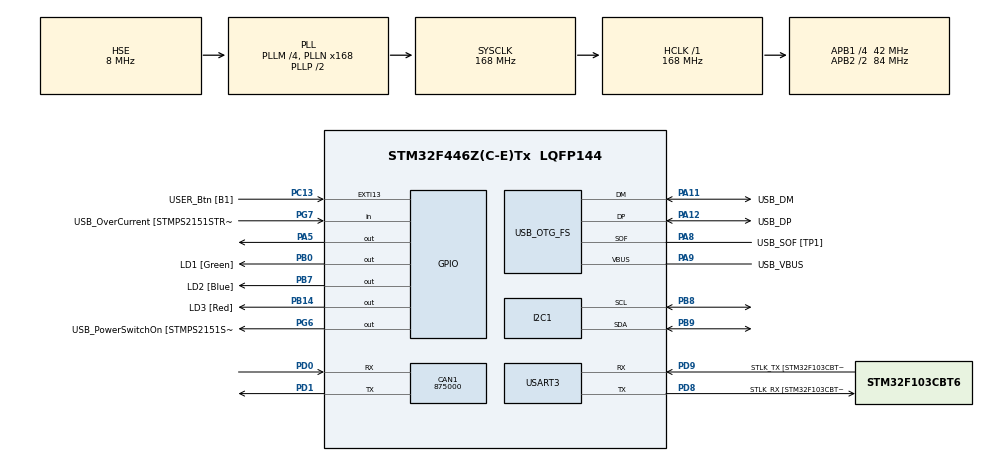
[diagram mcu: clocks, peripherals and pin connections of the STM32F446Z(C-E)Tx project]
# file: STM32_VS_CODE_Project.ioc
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CAN1.CalculateBaudRate=875000
CAN1.CalculateTimeBit=1142
CAN1.CalculateTimeQuantum=380.95238095238096
Mcu.Family=STM32F4
Mcu.Name=STM32F446Z(C-E)Tx
Mcu.Package=LQFP144
NVIC.PriorityGroup=NVIC_PRIORITYGROUP_4
PA10.GPIO_Label=USB_ID
PA10.Signal=USB_OTG_FS_ID
PA11.GPIO_Label=USB_DM
PA11.Mode=Device_Only
PA11.Signal=USB_OTG_FS_DM
PA12.GPIO_Label=USB_DP
PA12.Mode=Device_Only
PA12.Signal=USB_OTG_FS_DP
PA13.GPIO_Label=TMS
PA13.Mode=Serial_Wire
PA13.Signal=SYS_JTMS-SWDIO
PA14.GPIO_Label=TCK
PA14.Mode=Serial_Wire
PA14.Signal=SYS_JTCK-SWCLK
PA5.Signal=GPIO_Output
PA8.GPIO_Label=USB_SOF [TP1]
PA8.Mode=Activate_SOF_FS
PA8.Signal=USB_OTG_FS_SOF
PA9.GPIO_Label=USB_VBUS
PA9.Mode=Activate_VBUS
PA9.Signal=USB_OTG_FS_VBUS
PB0.GPIO_Label=LD1 [Green]
PB0.Signal=GPIO_Output
PB14.GPIO_Label=LD3 [Red]
PB14.Signal=GPIO_Output
PB7.GPIO_Label=LD2 [Blue]
PB7.Signal=GPIO_Output
PB8.Mode=I2C
PB8.Signal=I2C1_SCL
PB9.Mode=I2C
PB9.Signal=I2C1_SDA
PC13.GPIO_Label=USER_Btn [B1]
PC13.Signal=GPXTI13
PC14-OSC32_IN.Mode=LSE-External-Oscillator
PC14-OSC32_IN.Signal=RCC_OSC32_IN
PC15-OSC32_OUT.Mode=LSE-External-Oscillator
PC15-OSC32_OUT.Signal=RCC_OSC32_OUT
PD0.Mode=CAN_Activate
PD0.Signal=CAN1_RX
PD1.Mode=CAN_Activate
PD1.Signal=CAN1_TX
PD8.GPIO_Label=STLK_RX [STM32F103CBT6_PA3]
PD8.Mode=Asynchronous
PD8.Signal=USART3_TX
PD9.GPIO_Label=STLK_TX [STM32F103CBT6_PA2]
PD9.Mode=Asynchronous
PD9.Signal=USART3_RX
PG6.GPIO_Label=USB_PowerSwitchOn [STMPS2151STR_EN]
PG6.Signal=GPIO_Output
PG7.GPIO_Label=USB_OverCurrent [STMPS2151STR_FAULT]
PG7.Signal=GPIO_Input
PH0-OSC_IN.GPIO_Label=MCO [STM32F103CBT6_PA8]
PH0-OSC_IN.Mode=HSE-External-Clock-Source
PH0-OSC_IN.Signal=RCC_OSC_IN
PH1-OSC_OUT.Mode=HSE-External-Clock-Source
PH1-OSC_OUT.Signal=RCC_OSC_OUT
ProjectManager.HeapSize=0x200
ProjectManager.StackSize=0x400
ProjectManager.TargetToolchain=CMake
RCC.48MHZClocksFreq_Value=24000000
RCC.AHBFreq_Value=168000000
RCC.APB1CLKDivider=RCC_HCLK_DIV4
RCC.APB1Freq_Value=42000000
RCC.APB1TimFreq_Value=84000000
RCC.APB2CLKDivider=RCC_HCLK_DIV2
RCC.APB2Freq_Value=84000000
RCC.APB2TimFreq_Value=168000000
RCC.CortexFreq_Value=168000000
RCC.HCLKFreq_Value=168000000
RCC.HSE_VALUE=8000000
RCC.HSI_VALUE=16000000
RCC.PLLM=4
RCC.PLLMUL=RCC_PLL_MUL9
RCC.PLLN=168
RCC.PLLQ=7
RCC.PRESCALERUSB=RCC_USBCLKSOURCE_PLL_DIV1_5
RCC.SYSCLKFreq_VALUE=168000000
RCC.SYSCLKSource=RCC_SYSCLKSOURCE_PLLCLK
RCC.SYSCLKSourceVirtual=RCC_SYSCLKSOURCE_PLLCLK
RCC.USBFreq_Value=48000000
RCC.VCOOutputFreq_Value=336000000
USART3.VirtualMode=VM_ASYNC
USB_OTG_FS.VirtualMode=Device_Only
board=NUCLEO-F446ZE

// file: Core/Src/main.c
/* USER CODE BEGIN Header */
/**
  ******************************************************************************
  * @file           : main.c
  * @brief          : Main program body
  ******************************************************************************
  * @attention
  *
  * Copyright (c) 2026 STMicroelectronics.
  * All rights reserved.
  *
  * This software is licensed under terms that can be found in the LICENSE file
  * in the root directory of this software component.
  * If no LICENSE file comes with this software, it is provided AS-IS.
  *
  ******************************************************************************
  */
/* USER CODE END Header */
#include "main.h"

/* USER CODE BEGIN Includes */
#include <string.h>
#include <stdio.h>
/* USER CODE END Includes */

CAN_HandleTypeDef hcan1;

I2C_HandleTypeDef hi2c1;

UART_HandleTypeDef huart3;

PCD_HandleTypeDef hpcd_USB_OTG_FS;

/* USER CODE BEGIN PV */
// Địa chỉ I2C của Adafruit BMP280 mặc định là 0x77 (shift 1 bit = 0xEE)
// Nếu chân SDO nối GND thì là 0x76 (shift 1 bit = 0xEC)
#define BMP280_ADDR_PRIMARY   (0x77 << 1) // 0xEE
#define BMP280_ADDR_SECONDARY (0x76 << 1) // 0xEC

uint8_t bmp280_i2c_addr = BMP280_ADDR_PRIMARY;

#define BMP280_REG_ID      0xD0
#define BMP280_REG_RESET   0xE0
#define BMP280_REG_CTRL    0xF4
#define BMP280_REG_CONFIG  0xF5
#define BMP280_REG_CALIB   0x88
#define BMP280_REG_DATA    0xF7

// Các hệ số hiệu chuẩn của BMP280 (theo Bosch Datasheet)
uint16_t dig_T1;
int16_t  dig_T2;
int16_t  dig_T3;
int32_t  t_fine;

char msg[128];

// Các biến cấu hình truyền CAN
CAN_TxHeaderTypeDef TxHeader;
uint8_t             TxData[8];
uint32_t            TxMailbox;
/* USER CODE END PV */

void SystemClock_Config(void);
static void MX_GPIO_Init(void);
static void MX_USART3_UART_Init(void);
static void MX_USB_OTG_FS_PCD_Init(void);
static void MX_I2C1_Init(void);
static void MX_CAN1_Init(void);

/* USER CODE BEGIN 0 */
uint8_t BMP280_Init(void)
{
  uint8_t chip_id = 0;

  // Quét thử trước 0x77 và 0x76
  if (HAL_I2C_Mem_Read(&hi2c1, BMP280_ADDR_PRIMARY, BMP280_REG_ID, 1, &chip_id, 1, 200) == HAL_OK && chip_id == 0x58)
  {
    bmp280_i2c_addr = BMP280_ADDR_PRIMARY;
  }
  else if (HAL_I2C_Mem_Read(&hi2c1, BMP280_ADDR_SECONDARY, BMP280_REG_ID, 1, &chip_id, 1, 200) == HAL_OK && chip_id == 0x58)
  {
    bmp280_i2c_addr = BMP280_ADDR_SECONDARY;
  }
  else
  {
    // Quét toàn bộ bus I2C để chẩn đoán chính xác xem có thiết bị nào trên bus không
    sprintf(msg, "-> Dang quet toan bo bus I2C1 (PB8/PB9)...\r\n");
    HAL_UART_Transmit(&huart3, (uint8_t*)msg, strlen(msg), HAL_MAX_DELAY);
    uint8_t found = 0;
    for (uint16_t addr = 1; addr < 128; addr++)
    {
      if (HAL_I2C_IsDeviceReady(&hi2c1, (addr << 1), 1, 10) == HAL_OK)
      {
        uint8_t id_test = 0;
        HAL_I2C_Mem_Read(&hi2c1, (addr << 1), BMP280_REG_ID, 1, &id_test, 1, 50);
        sprintf(msg, "   [I2C FOUND] Phat hien thiet bi o dia chi: 0x%02X (Chip ID doc duoc: 0x%02X)\r\n", addr, id_test);
        HAL_UART_Transmit(&huart3, (uint8_t*)msg, strlen(msg), HAL_MAX_DELAY);
        if (id_test == 0x58)
        {
          bmp280_i2c_addr = (addr << 1);
          chip_id = id_test;
          found = 1;
          break;
        }
      }
    }
    if (!found) return 0;
  }

  // Đọc 6 byte hệ số hiệu chuẩn nhiệt độ (dig_T1..T3) từ thanh ghi 0x88
  uint8_t calib[6];
  if (HAL_I2C_Mem_Read(&hi2c1, bmp280_i2c_addr, BMP280_REG_CALIB, 1, calib, 6, 1000) != HAL_OK)
  {
    return 0;
  }

  dig_T1 = (uint16_t)((calib[1] << 8) | calib[0]);
  dig_T2 = (int16_t)((calib[3] << 8) | calib[2]);
  dig_T3 = (int16_t)((calib[5] << 8) | calib[4]);

  // Cấu hình chế độ đo: Oversampling x1, Normal mode -> 0x27
  uint8_t ctrl_meas = 0x27;
  HAL_I2C_Mem_Write(&hi2c1, bmp280_i2c_addr, BMP280_REG_CTRL, 1, &ctrl_meas, 1, 1000);

  // Cấu hình lọc: Standby 500ms, filter x16 -> 0x90
  uint8_t config = (4 << 5) | (4 << 2);
  HAL_I2C_Mem_Write(&hi2c1, bmp280_i2c_addr, BMP280_REG_CONFIG, 1, &config, 1, 1000);

  return 1;
}

float BMP280_ReadTemperature(void)
{
  uint8_t data[3];
  // Đọc 3 byte nhiệt độ thô từ thanh ghi 0xFA
  if (HAL_I2C_Mem_Read(&hi2c1, bmp280_i2c_addr, 0xFA, 1, data, 3, 1000) != HAL_OK)
  {
    return -999.0f;
  }

  int32_t adc_T = ((int32_t)data[0] << 12) | ((int32_t)data[1] << 4) | ((int32_t)data[2] >> 4);

  // Công thức bù chuẩn theo datasheet Bosch Sensortec BMP280
  int32_t var1 = ((((adc_T >> 3) - ((int32_t)dig_T1 << 1))) * ((int32_t)dig_T2)) >> 11;
  int32_t var2 = (((((adc_T >> 4) - ((int32_t)dig_T1)) * ((adc_T >> 4) - ((int32_t)dig_T1))) >> 12) * ((int32_t)dig_T3)) >> 14;

  t_fine = var1 + var2;
  int32_t T = (t_fine * 5 + 128) >> 8;

  return (float)T / 100.0f;
}
/* USER CODE END 0 */

int main(void)
{

  /* USER CODE BEGIN 1 */
  HAL_StatusTypeDef ret;
  uint8_t buf[12];
  int16_t val;
  float tempC;
  /* USER CODE END 1 */

  /* MCU Configuration--------------------------------------------------------*/

  /* Reset of all peripherals, Initializes the Flash interface and the Systick. */
  HAL_Init();

  /* Configure the system clock */
  SystemClock_Config();

  /* Initialize all configured peripherals */
  MX_GPIO_Init();
  MX_USART3_UART_Init();
  MX_USB_OTG_FS_PCD_Init();
  MX_I2C1_Init();
  MX_CAN1_Init();
  /* USER CODE BEGIN 2 */
  sprintf(msg, "\r\n========================================\r\n");
  HAL_UART_Transmit(&huart3, (uint8_t*)msg, strlen(msg), HAL_MAX_DELAY);
  sprintf(msg, "   STM32F446ZE - Adafruit BMP280 Demo\r\n");
  HAL_UART_Transmit(&huart3, (uint8_t*)msg, strlen(msg), HAL_MAX_DELAY);
  sprintf(msg, "========================================\r\n");
  HAL_UART_Transmit(&huart3, (uint8_t*)msg, strlen(msg), HAL_MAX_DELAY);

  if (BMP280_Init())
  {
    sprintf(msg, "[OK] Tim thay BMP280 o dia chi: 0x%02X!\r\n", (bmp280_i2c_addr >> 1));
    HAL_UART_Transmit(&huart3, (uint8_t*)msg, strlen(msg), HAL_MAX_DELAY);
  }
  else
  {
    sprintf(msg, "[ERROR] Khong tim thay BMP280!\r\nVui long kiem tra lai day noi I2C (PB8-SCL, PB9-SDA) va nguon.\r\n");
    HAL_UART_Transmit(&huart3, (uint8_t*)msg, strlen(msg), HAL_MAX_DELAY);
  }

  // 1. Cấu hình gói tin CAN (TxHeader)
  TxHeader.StdId = 0x103;              // ID gói tin CAN (ESP32 sẽ bắt đúng ID 0x103 này)
  TxHeader.ExtId = 0x01;
  TxHeader.RTR   = CAN_RTR_DATA;       // Gói tin chứa dữ liệu (Data Frame)
  TxHeader.IDE   = CAN_ID_STD;         // Chuẩn ID tiêu chuẩn 11-bit
  TxHeader.DLC   = 4;                  // Độ dài 4 byte (chứa 1 biến float 32-bit)
  TxHeader.TransmitGlobalTime = DISABLE;

  // 2. Bật khối CAN1 hoạt động
  if (HAL_CAN_Start(&hcan1) == HAL_OK)
  {
    sprintf(msg, "[OK] CAN1 khoi dong thanh cong (Baud: 500 kbps, StdID: 0x103)!\r\n");
    HAL_UART_Transmit(&huart3, (uint8_t*)msg, strlen(msg), HAL_MAX_DELAY);
  }
  else
  {
    sprintf(msg, "[ERROR] Khong the start CAN1!\r\n");
    HAL_UART_Transmit(&huart3, (uint8_t*)msg, strlen(msg), HAL_MAX_DELAY);
  }
  /* USER CODE END 2 */

  /* Infinite loop */
  /* USER CODE BEGIN WHILE */
  while (1)
  {
    tempC = BMP280_ReadTemperature();

    if (tempC < -900.0f)
    {
      sprintf(msg, "[LOI] Khong doc duoc du lieu tu cam bien!\r\n");
      HAL_UART_Transmit(&huart3, (uint8_t*)msg, strlen(msg), HAL_MAX_DELAY);
    }
    else
    {
      int t_int = (int)tempC;
      int t_dec = (int)((tempC - t_int) * 100);
      if (t_dec < 0) t_dec = -t_dec;

      sprintf(msg, "Nhiet do (tempC): %d.%02d *C", t_int, t_dec);
      HAL_UART_Transmit(&huart3, (uint8_t*)msg, strlen(msg), HAL_MAX_DELAY);

      // Đóng gói giá trị float tempC (4 bytes) vào gói tin CAN
      memcpy(TxData, &tempC, sizeof(float));

      // Kiểm tra mailbox trước khi gửi
      // Nếu không có node nhận (chưa bật ESP32 hoặc chưa có trở 120R), mailbox sẽ bị kẹt vì không có ACK
      uint32_t free_mb = HAL_CAN_GetTxMailboxesFreeLevel(&hcan1);
      if (free_mb == 0)
      {
        // Giải phóng mailbox cũ để không bị nghẽn
        HAL_CAN_AbortTxRequest(&hcan1, CAN_TX_MAILBOX0 | CAN_TX_MAILBOX1 | CAN_TX_MAILBOX2);
      }

      // Gửi gói tin qua CAN1
      if (HAL_CAN_AddTxMessage(&hcan1, &TxHeader, TxData, &TxMailbox) == HAL_OK)
      {
        sprintf(msg, " -> [CAN TX QUEUED: ID 0x103]\r\n");
      }
      else
      {
        sprintf(msg, " -> [CAN TX FAIL (Kiem tra ESP32/tro 120R)]\r\n");
      }
      HAL_UART_Transmit(&huart3, (uint8_t*)msg, strlen(msg), HAL_MAX_DELAY);
    }

    HAL_Delay(1000);
    /* USER CODE END WHILE */

  }
}

void SystemClock_Config(void)
{
  RCC_OscInitTypeDef RCC_OscInitStruct = {0};
  RCC_ClkInitTypeDef RCC_ClkInitStruct = {0};

  /** Configure the main internal regulator output voltage
  */
  __HAL_RCC_PWR_CLK_ENABLE();
  __HAL_PWR_VOLTAGESCALING_CONFIG(PWR_REGULATOR_VOLTAGE_SCALE1);

  /** Initializes the RCC Oscillators according to the specified parameters
  * in the RCC_OscInitTypeDef structure.
  */
  RCC_OscInitStruct.OscillatorType = RCC_OSCILLATORTYPE_HSE;
  RCC_OscInitStruct.HSEState = RCC_HSE_BYPASS;
  RCC_OscInitStruct.PLL.PLLState = RCC_PLL_ON;
  RCC_OscInitStruct.PLL.PLLSource = RCC_PLLSOURCE_HSE;
  RCC_OscInitStruct.PLL.PLLM = 4;
  RCC_OscInitStruct.PLL.PLLN = 168;
  RCC_OscInitStruct.PLL.PLLP = RCC_PLLP_DIV2;
  RCC_OscInitStruct.PLL.PLLQ = 7;
  RCC_OscInitStruct.PLL.PLLR = 2;
  if (HAL_RCC_OscConfig(&RCC_OscInitStruct) != HAL_OK)
  {
    Error_Handler();
  }

  /** Initializes the CPU, AHB and APB buses clocks
  */
  RCC_ClkInitStruct.ClockType = RCC_CLOCKTYPE_HCLK|RCC_CLOCKTYPE_SYSCLK
                              |RCC_CLOCKTYPE_PCLK1|RCC_CLOCKTYPE_PCLK2;
  RCC_ClkInitStruct.SYSCLKSource = RCC_SYSCLKSOURCE_PLLCLK;
  RCC_ClkInitStruct.AHBCLKDivider = RCC_SYSCLK_DIV1;
  RCC_ClkInitStruct.APB1CLKDivider = RCC_HCLK_DIV4;
  RCC_ClkInitStruct.APB2CLKDivider = RCC_HCLK_DIV2;

  if (HAL_RCC_ClockConfig(&RCC_ClkInitStruct, FLASH_LATENCY_5) != HAL_OK)
  {
    Error_Handler();
  }
}

static void MX_CAN1_Init(void)
{

  hcan1.Instance = CAN1;
  // APB1 Clock = 42 MHz. Tốc độ CAN = 42MHz / (6 * (1 + 11 + 2)) = 500 kbps (Chuẩn tương thích ESP32)
  hcan1.Init.Prescaler = 6;
  hcan1.Init.Mode = CAN_MODE_NORMAL;
  hcan1.Init.SyncJumpWidth = CAN_SJW_1TQ;
  hcan1.Init.TimeSeg1 = CAN_BS1_11TQ;
  hcan1.Init.TimeSeg2 = CAN_BS2_2TQ;
  hcan1.Init.TimeTriggeredMode = DISABLE;
  hcan1.Init.AutoBusOff = ENABLE;
  hcan1.Init.AutoWakeUp = DISABLE;
  hcan1.Init.AutoRetransmission = ENABLE;
  hcan1.Init.ReceiveFifoLocked = DISABLE;
  hcan1.Init.TransmitFifoPriority = DISABLE;
  if (HAL_CAN_Init(&hcan1) != HAL_OK)
  {
    Error_Handler();
  }

}

static void MX_I2C1_Init(void)
{

  hi2c1.Instance = I2C1;
  hi2c1.Init.ClockSpeed = 100000;
  hi2c1.Init.DutyCycle = I2C_DUTYCYCLE_2;
  hi2c1.Init.OwnAddress1 = 0;
  hi2c1.Init.AddressingMode = I2C_ADDRESSINGMODE_7BIT;
  hi2c1.Init.DualAddressMode = I2C_DUALADDRESS_DISABLE;
  hi2c1.Init.OwnAddress2 = 0;
  hi2c1.Init.GeneralCallMode = I2C_GENERALCALL_DISABLE;
  hi2c1.Init.NoStretchMode = I2C_NOSTRETCH_DISABLE;
  if (HAL_I2C_Init(&hi2c1) != HAL_OK)
  {
    Error_Handler();
  }

}

static void MX_USART3_UART_Init(void)
{

  huart3.Instance = USART3;
  huart3.Init.BaudRate = 115200;
  huart3.Init.WordLength = UART_WORDLENGTH_8B;
  huart3.Init.StopBits = UART_STOPBITS_1;
  huart3.Init.Parity = UART_PARITY_NONE;
  huart3.Init.Mode = UART_MODE_TX_RX;
  huart3.Init.HwFlowCtl = UART_HWCONTROL_NONE;
  huart3.Init.OverSampling = UART_OVERSAMPLING_16;
  if (HAL_UART_Init(&huart3) != HAL_OK)
  {
    Error_Handler();
  }

}

static void MX_USB_OTG_FS_PCD_Init(void)
{

  hpcd_USB_OTG_FS.Instance = USB_OTG_FS;
  hpcd_USB_OTG_FS.Init.dev_endpoints = 6;
  hpcd_USB_OTG_FS.Init.speed = PCD_SPEED_FULL;
  hpcd_USB_OTG_FS.Init.dma_enable = DISABLE;
  hpcd_USB_OTG_FS.Init.phy_itface = PCD_PHY_EMBEDDED;
  hpcd_USB_OTG_FS.Init.Sof_enable = ENABLE;
  hpcd_USB_OTG_FS.Init.low_power_enable = DISABLE;
  hpcd_USB_OTG_FS.Init.lpm_enable = DISABLE;
  hpcd_USB_OTG_FS.Init.vbus_sensing_enable = ENABLE;
  hpcd_USB_OTG_FS.Init.use_dedicated_ep1 = DISABLE;
  if (HAL_PCD_Init(&hpcd_USB_OTG_FS) != HAL_OK)
  {
    Error_Handler();
  }

}

static void MX_GPIO_Init(void)
{
  GPIO_InitTypeDef GPIO_InitStruct = {0};

  /* GPIO Ports Clock Enable */
  __HAL_RCC_GPIOC_CLK_ENABLE();
  __HAL_RCC_GPIOH_CLK_ENABLE();
  __HAL_RCC_GPIOA_CLK_ENABLE();
  __HAL_RCC_GPIOB_CLK_ENABLE();
  __HAL_RCC_GPIOD_CLK_ENABLE();
  __HAL_RCC_GPIOG_CLK_ENABLE();

  /*Configure GPIO pin Output Level */
  HAL_GPIO_WritePin(GPIOA, GPIO_PIN_5, GPIO_PIN_RESET);

  /*Configure GPIO pin Output Level */
  HAL_GPIO_WritePin(GPIOB, LD1_Pin|LD3_Pin|LD2_Pin, GPIO_PIN_RESET);

  /*Configure GPIO pin Output Level */
  HAL_GPIO_WritePin(USB_PowerSwitchOn_GPIO_Port, USB_PowerSwitchOn_Pin, GPIO_PIN_RESET);

  /*Configure GPIO pin : USER_Btn_Pin */
  GPIO_InitStruct.Pin = USER_Btn_Pin;
  GPIO_InitStruct.Mode = GPIO_MODE_IT_RISING;
  GPIO_InitStruct.Pull = GPIO_NOPULL;
  HAL_GPIO_Init(USER_Btn_GPIO_Port, &GPIO_InitStruct);

  /*Configure GPIO pin : PA5 */
  GPIO_InitStruct.Pin = GPIO_PIN_5;
  GPIO_InitStruct.Mode = GPIO_MODE_OUTPUT_PP;
  GPIO_InitStruct.Pull = GPIO_NOPULL;
  GPIO_InitStruct.Speed = GPIO_SPEED_FREQ_LOW;
  HAL_GPIO_Init(GPIOA, &GPIO_InitStruct);

  /*Configure GPIO pins : LD1_Pin LD3_Pin LD2_Pin */
  GPIO_InitStruct.Pin = LD1_Pin|LD3_Pin|LD2_Pin;
  GPIO_InitStruct.Mode = GPIO_MODE_OUTPUT_PP;
  GPIO_InitStruct.Pull = GPIO_NOPULL;
  GPIO_InitStruct.Speed = GPIO_SPEED_FREQ_LOW;
  HAL_GPIO_Init(GPIOB, &GPIO_InitStruct);

  /*Configure GPIO pin : USB_PowerSwitchOn_Pin */
  GPIO_InitStruct.Pin = USB_PowerSwitchOn_Pin;
  GPIO_InitStruct.Mode = GPIO_MODE_OUTPUT_PP;
  GPIO_InitStruct.Pull = GPIO_NOPULL;
  GPIO_InitStruct.Speed = GPIO_SPEED_FREQ_LOW;
  HAL_GPIO_Init(USB_PowerSwitchOn_GPIO_Port, &GPIO_InitStruct);

  /*Configure GPIO pin : USB_OverCurrent_Pin */
  GPIO_InitStruct.Pin = USB_OverCurrent_Pin;
  GPIO_InitStruct.Mode = GPIO_MODE_INPUT;
  GPIO_InitStruct.Pull = GPIO_NOPULL;
  HAL_GPIO_Init(USB_OverCurrent_GPIO_Port, &GPIO_InitStruct);

}

void Error_Handler(void)
{
  __disable_irq();
  while (1)
  {
  }
}
